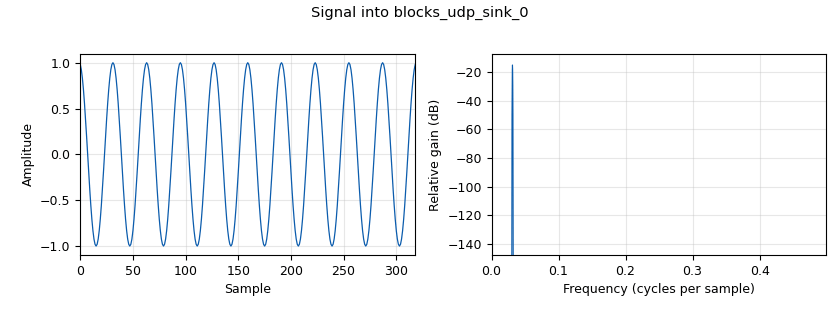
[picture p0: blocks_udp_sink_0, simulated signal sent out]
<?xml version='1.0' encoding='utf-8'?>
<?grc format='1' created='3.7.10'?>
<flow_graph>
<block>
<key>options</key>
<param><key>id</key><value>tone_generator_tx</value></param>
<param><key>generate_options</key><value>wx_gui</value></param>
<param><key>title</key><value>Tone Client</value></param>
</block>
<block>
<key>variable_slider</key>
<param><key>id</key><value>freq</value></param>
<param><key>converver</key><value>float_converter</value></param>
<param><key>value</key><value>1e3</value></param>
<param><key>label</key><value>Frequency</value></param>
<param><key>max</key><value>20e3</value></param>
<param><key>min</key><value>0</value></param>
<param><key>num_steps</key><value>100</value></param>
<param><key>style</key><value>wx.SL_HORIZONTAL</value></param>
</block>
<block>
<key>variable</key>
<param><key>id</key><value>samp_rate</value></param>
<param><key>value</key><value>32000</value></param>
</block>
<block>
<key>analog_sig_source_x</key>
<param><key>id</key><value>analog_sig_source_x_0</value></param>
<param><key>amp</key><value>1</value></param>
<param><key>freq</key><value>freq</value></param>
<param><key>offset</key><value>0</value></param>
<param><key>type</key><value>float</value></param>
<param><key>samp_rate</key><value>samp_rate</value></param>
<param><key>waveform</key><value>analog.GR_COS_WAVE</value></param>
</block>
<block>
<key>blocks_udp_sink</key>
<param><key>id</key><value>blocks_udp_sink_0</value></param>
<param><key>ipaddr</key><value>127.0.0.1</value></param>
<param><key>port</key><value>12345</value></param>
<param><key>type</key><value>float</value></param>
<param><key>psize</key><value>1472</value></param>
<param><key>eof</key><value>True</value></param>
<param><key>vlen</key><value>1</value></param>
</block>
<connection><source_block_id>analog_sig_source_x_0</source_block_id><sink_block_id>blocks_udp_sink_0</sink_block_id><source_key>0</source_key><sink_key>0</sink_key></connection>
</flow_graph>
